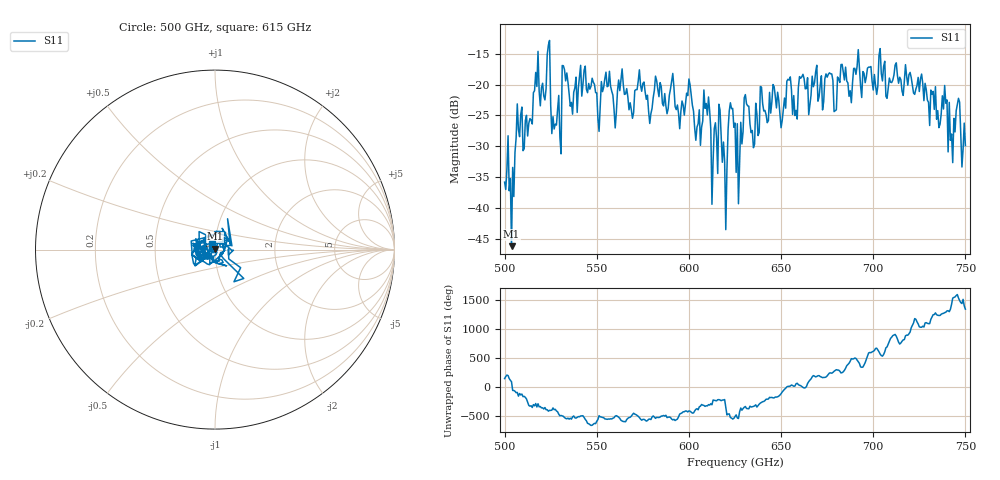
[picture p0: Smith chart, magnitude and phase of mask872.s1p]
!Created with skrf (http://scikit-rf.org).
# GHz S MA R 50.0
!freq magS11 angS11
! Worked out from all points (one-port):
!   401 points, 500 GHz to 750 GHz, reference 50 ohm
!   lowest |S11| = -46.1 dB at 503.8 GHz (marker M1), VSWR 1.01, Z = 50 + j0.494 ohm
!   |S11| at or under -10 dB: start of sweep to end of sweep
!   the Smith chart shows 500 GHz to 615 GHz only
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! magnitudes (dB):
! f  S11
! 500 GHz  -35.8
! 503.8 GHz  -46.1
! 508.1 GHz  -28.4
! 513.8 GHz  -25.5
! 516.9 GHz  -18.0
! 523.8 GHz  -13.6
! 526.9 GHz  -27.2
! 531.2 GHz  -16.9
! 532.5 GHz  -17.6
! 550.6 GHz  -25.5
! 562.5 GHz  -21.0
! 568.8 GHz  -24.1
! 590.6 GHz  -19.5
! 593.8 GHz  -23.3
! 609.4 GHz  -23.1
! 613.1 GHz  -32.3
! 617.5 GHz  -28.4
! 619.4 GHz  -32.4
! 622.5 GHz  -22.9
! 625 GHz  -26.2
! 626.9 GHz  -39.3
! 631.2 GHz  -23.1
! 634.4 GHz  -27.4
! 640 GHz  -23.1
! 656.2 GHz  -24.8
! 687.5 GHz  -21.0
! 718.8 GHz  -20.1
! 750 GHz  -29.9
